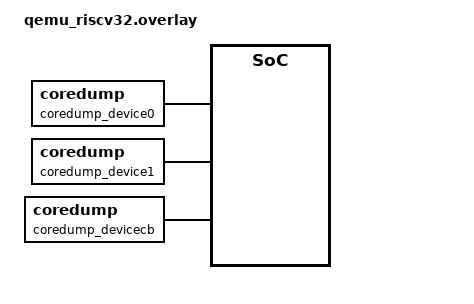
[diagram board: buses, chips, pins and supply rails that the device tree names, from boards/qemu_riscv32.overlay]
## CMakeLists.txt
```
# Copyright Meta Platforms, Inc. and its affiliates.
# SPDX-License-Identifier: Apache-2.0

cmake_minimum_required(VERSION 3.28.0)

find_package(Zephyr REQUIRED HINTS $ENV{ZEPHYR_BASE})
project(coredump_api)

FILE(GLOB app_sources src/*.c)
target_sources(app PRIVATE ${app_sources})
```

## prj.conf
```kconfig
# Copyright Meta Platforms, Inc. and its affiliates.
# SPDX-License-Identifier: Apache-2.0

CONFIG_ZTEST=y

CONFIG_COREDUMP_DEVICE=y

CONFIG_DEBUG_COREDUMP=y
CONFIG_DEBUG_COREDUMP_MEMORY_DUMP_MIN=y
```

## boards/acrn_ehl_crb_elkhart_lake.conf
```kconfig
# Give 1 second delay when running on ACRN.
# Because the zephyr's log from ACRN console
# cannot output completedly before this time.
CONFIG_BOOT_DELAY=1000
```

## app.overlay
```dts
/*
 * Copyright Meta Platforms, Inc. and its affiliates.
 *
 * SPDX-License-Identifier: Apache-2.0
 */

/ {
	coredump_device0: coredump-device0 {
		compatible = "zephyr,coredump";
		coredump-type = "COREDUMP_TYPE_MEMCPY";
		status = "okay";
	};

	coredump_devicecb: coredump-device-cb {
		compatible = "zephyr,coredump";
		coredump-type = "COREDUMP_TYPE_CALLBACK";
		memory-regions = <0x0 0x4>;
		status = "okay";
	};
};
```

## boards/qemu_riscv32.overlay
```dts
/*
 * Copyright Meta Platforms, Inc. and its affiliates.
 *
 * SPDX-License-Identifier: Apache-2.0
 */

/ {
	coredump_device0: coredump-device0 {
		compatible = "zephyr,coredump";
		coredump-type = "COREDUMP_TYPE_MEMCPY";

		memory-regions = <0x85000000 0x4>,
				 <0x85000004 0x4>;
		status = "okay";
	};

	coredump_device1: coredump-device1 {
		compatible = "zephyr,coredump";
		coredump-type = "COREDUMP_TYPE_MEMCPY";

		memory-regions = <0x86000000 0xc>;
		status = "okay";
	};

	coredump_devicecb: coredump-device-cb {
		compatible = "zephyr,coredump";
		coredump-type = "COREDUMP_TYPE_CALLBACK";
		memory-regions = <0x0 0x4>;
		status = "okay";
	};
};
```

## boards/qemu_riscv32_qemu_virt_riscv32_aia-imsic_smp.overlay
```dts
/*
 * SPDX-FileCopyrightText: Copyright The Zephyr Project Contributors
 *
 * SPDX-License-Identifier: Apache-2.0
 */
#include "qemu_riscv32.overlay"
```

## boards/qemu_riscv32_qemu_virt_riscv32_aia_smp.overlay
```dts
/*
 * Copyright (c) 2025 Synopsys
 *
 * SPDX-License-Identifier: Apache-2.0
 */
#include "qemu_riscv32_qemu_virt_riscv32.overlay"
```

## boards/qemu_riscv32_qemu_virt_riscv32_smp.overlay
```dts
/*
 * Copyright Meta Platforms, Inc. and its affiliates.
 *
 * SPDX-License-Identifier: Apache-2.0
 */
#include "qemu_riscv32.overlay"
```

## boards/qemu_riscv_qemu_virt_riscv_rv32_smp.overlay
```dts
/*
 * Copyright Meta Platforms, Inc. and its affiliates.
 *
 * SPDX-License-Identifier: Apache-2.0
 */
#include "qemu_riscv_qemu_virt_riscv_rv32.overlay"
```

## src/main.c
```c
/*
 * Copyright Meta Platforms, Inc. and its affiliates.
 *
 * SPDX-License-Identifier: Apache-2.0
 */

#include <zephyr/drivers/coredump.h>
#include <zephyr/ztest.h>

/* Test will verify that these values are present in the core dump */
#define TEST_MEMORY_VALUE_0 0xabababab
#define TEST_MEMORY_VALUE_1 0xcdcdcdcd
#define TEST_MEMORY_VALUE_2 0xefefefef

#if defined(CONFIG_BOARD_QEMU_RISCV32)
#define TEST_MEMORY_VALUE_3 0x12121212
#define TEST_MEMORY_VALUE_4 0x34343434
#define TEST_MEMORY_VALUE_5 0x56565656
#define TEST_MEMORY_VALUE_6 0x78787878
#define TEST_MEMORY_VALUE_7 0x90909090
#endif

#define TEST_MEMORY_VALUE_8 0xbabababa

#ifdef CONFIG_COVERAGE_DUMP
#include <zephyr/debug/gcov.h>
#endif

static uint32_t values_to_dump[3];
static struct coredump_mem_region_node dump_region0 = {
	.start = (uintptr_t)&values_to_dump,
	.size = sizeof(values_to_dump)
};

void k_sys_fatal_error_handler(unsigned int reason, const struct arch_esf *pEsf)
{
	ARG_UNUSED(pEsf);

	printk("%s as expected; reason = %u; halting ...\n", __func__, reason);

#ifdef CONFIG_COVERAGE_DUMP
	gcov_coverage_dump();  /* LCOV_EXCL_LINE */
#endif
	k_fatal_halt(reason);
}


static void test_coredump_callback(uintptr_t dump_area, size_t dump_area_size)
{
	uint32_t expected_size = DT_PROP_BY_IDX(DT_NODELABEL(coredump_devicecb), memory_regions, 1);

	zassert_equal(dump_area_size, expected_size, "Size in callback doesn't match device tree");
	zassert_not_null((void *)dump_area, "dump_area is NULL");

	uint32_t *mem = (uint32_t *)dump_area;
	*mem = TEST_MEMORY_VALUE_8;
}

static void *coredump_tests_suite_setup(void)
{
#if defined(CONFIG_BOARD_QEMU_RISCV32)
	/* Get addresses of memory regions specified in device tree to fill with test data */
	uint32_t *mem0 =
		(uint32_t *)DT_PROP_BY_IDX(DT_NODELABEL(coredump_device0), memory_regions, 0);
	uint32_t *mem1 =
		(uint32_t *)DT_PROP_BY_IDX(DT_NODELABEL(coredump_device0), memory_regions, 2);
	uint32_t *mem2 =
		(uint32_t *)DT_PROP_BY_IDX(DT_NODELABEL(coredump_device1), memory_regions, 0);

	*mem0 = TEST_MEMORY_VALUE_3;
	*mem1 = TEST_MEMORY_VALUE_4;
	mem2[0] = TEST_MEMORY_VALUE_5;
	mem2[1] = TEST_MEMORY_VALUE_6;
	mem2[2] = TEST_MEMORY_VALUE_7;
#endif

	return NULL;
}

ZTEST_SUITE(coredump_tests, NULL, coredump_tests_suite_setup, NULL, NULL, NULL);

ZTEST(coredump_tests, test_register_memory)
{
	const struct device *const coredump_dev = DEVICE_DT_GET(DT_NODELABEL(coredump_device0));
	const struct device *const coredump_cb_dev = DEVICE_DT_GET(DT_NODELABEL(coredump_devicecb));

	zassert_not_null(coredump_dev, "Cannot get coredump device");

	/* Verify register callback fails for COREDUMP_TYPE_MEMCPY type device */
	zassert_false(coredump_device_register_callback(coredump_dev, test_coredump_callback),
		"register callback unexpected succeeded");

	/* Verify unregister fails for memory that was never registered */
	zassert_false(coredump_device_unregister_memory(coredump_dev, &dump_region0),
		"unregister unexpected succeeded");

	/* Verify unregister succeeds after registration */
	zassert_true(coredump_device_register_memory(coredump_dev, &dump_region0),
		"register failed");
	zassert_true(coredump_device_unregister_memory(coredump_dev, &dump_region0),
		"unregister failed");

	/* Register dump_region0 to be collected in core dump and set test values */
	zassert_true(coredump_device_register_memory(coredump_dev, &dump_region0),
		"register failed");
	values_to_dump[0] = TEST_MEMORY_VALUE_0;
	values_to_dump[1] = TEST_MEMORY_VALUE_1;
	values_to_dump[2] = TEST_MEMORY_VALUE_2;

	/* Verify register memory region fails for COREDUMP_TYPE_CALLBACK type device */
	zassert_false(coredump_device_register_memory(coredump_cb_dev, &dump_region0),
		"register memory unexpected succeeded");

	/* Register callback to be invoked for the COREDUMP_TYPE_CALLBACK type device  */
	zassert_true(coredump_device_register_callback(coredump_cb_dev, test_coredump_callback),
		"register failed");

	/* Force a crash */
	k_panic();
}
```
